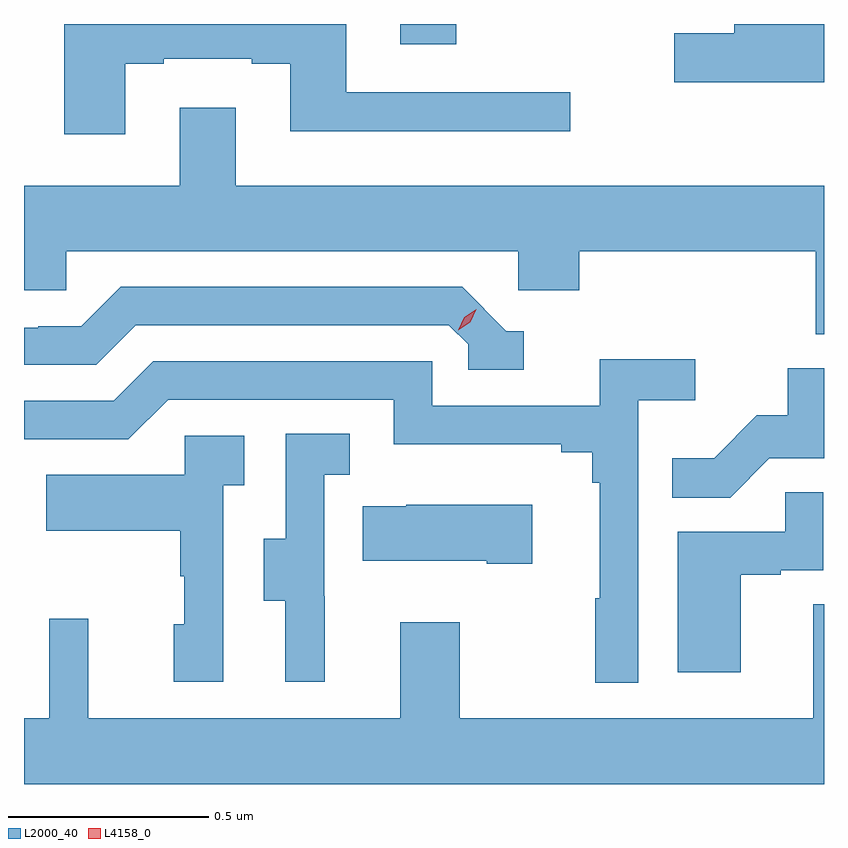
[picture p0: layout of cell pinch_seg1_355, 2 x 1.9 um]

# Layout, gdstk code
import gdstk
lib = gdstk.Library(unit=1e-6, precision=1e-09)
def R(c, l, rs):  # rectangles x0, y0, x1, y1
    for r in rs: c.add(gdstk.rectangle(r[:2], r[2:], *l))
def P(c, l, *ps):  # polygons
    for p in ps: c.add(gdstk.Polygon(p, *l))
L2000_40 = (2000, 40)
L4158_0 = (4158, 0)

pinch_seg1_355 = lib.new_cell('pinch_seg1_355')
R(pinch_seg1_355, L2000_40, [(1005.809,554.913,1005.949,554.964)])
P(pinch_seg1_355, L2000_40, [(1005.121,554.865),(1005.217,554.865),(1005.217,554.877),(1005.437,554.877),(1005.437,554.865),(1005.533,554.865),(1005.533,554.696),(1006.234,554.696),(1006.234,554.793),(1005.673,554.793),(1005.673,554.964),(1004.969,554.964),(1004.969,554.688),(1005.121,554.688)],
  [(1006.868,554.964),(1006.643,554.964),(1006.643,554.941),(1006.494,554.941),(1006.494,554.819),(1006.868,554.819)],
  [(1006.868,554.56),(1005.397,554.56),(1005.397,554.755),(1005.257,554.755),(1005.257,554.56),(1004.868,554.56),(1004.868,554.298),(1004.973,554.298),(1004.973,554.396),(1006.104,554.396),(1006.104,554.298),(1006.256,554.298),(1006.256,554.396),(1006.847,554.396),(1006.847,554.188),(1006.868,554.188)],
  [(1006.117,554.196),(1006.074,554.196),(1005.963,554.307),(1005.11,554.307),(1005.011,554.208),(1004.904,554.208),(1004.904,554.205),(1004.868,554.205),(1004.868,554.112),(1005.048,554.112),(1005.147,554.211),(1005.93,554.211),(1005.978,554.163),(1005.978,554.1),(1006.117,554.1)],
  [(1006.404,554.024),(1006.546,554.024),(1006.546,554.126),(1006.307,554.126),(1006.307,554.01),(1005.888,554.01),(1005.888,554.121),(1005.191,554.121),(1005.092,554.022),(1004.868,554.022),(1004.868,553.926),(1005.129,553.926),(1005.228,554.025),(1005.792,554.025),(1005.792,553.913),(1006.211,553.913),(1006.211,553.894),(1006.288,553.894),(1006.288,553.817),(1006.307,553.817),(1006.307,553.529),(1006.296,553.529),(1006.296,553.317),(1006.404,553.317)],
  [(1006.731,553.878),(1006.868,553.878),(1006.868,554.103),(1006.777,554.103),(1006.777,553.986),(1006.7,553.986),(1006.593,553.879),(1006.489,553.879),(1006.489,553.78),(1006.633,553.78)],
  [(1005.62,553.533),(1005.618,553.533),(1005.618,553.837),(1005.682,553.837),(1005.682,553.94),(1005.522,553.94),(1005.522,553.677),(1005.467,553.677),(1005.467,553.522),(1005.521,553.522),(1005.521,553.32),(1005.62,553.32)],
  [(1005.366,553.811),(1005.418,553.811),(1005.418,553.935),(1005.27,553.935),(1005.27,553.837),(1004.923,553.837),(1004.923,553.697),(1005.258,553.697),(1005.258,553.583),(1005.268,553.583),(1005.268,553.464),(1005.242,553.464),(1005.242,553.32),(1005.366,553.32)],
  [(1006.66,553.587),(1006.76,553.587),(1006.76,553.599),(1006.866,553.599),(1006.866,553.793),(1006.771,553.793),(1006.771,553.695),(1006.502,553.695),(1006.502,553.344),(1006.66,553.344)],
  [(1006.138,553.762),(1005.823,553.762),(1005.823,553.759),(1005.715,553.759),(1005.715,553.622),(1006.025,553.622),(1006.025,553.615),(1006.138,553.615)],
  [(1006.868,553.514),(1006.841,553.514),(1006.841,553.228),(1005.957,553.228),(1005.957,553.468),(1005.809,553.468),(1005.809,553.228),(1005.029,553.228),(1005.029,553.477),(1004.931,553.477),(1004.931,553.228),(1004.868,553.228),(1004.868,553.064),(1006.868,553.064)])
P(pinch_seg1_355, L4158_0, [(1005.953,554.198),(1005.953,554.198),(1005.968,554.231),(1005.998,554.251),(1005.999,554.251),(1005.999,554.251),(1005.983,554.218),(1005.953,554.198)])

lib.write_gds('pinch_seg1_355.gds')
